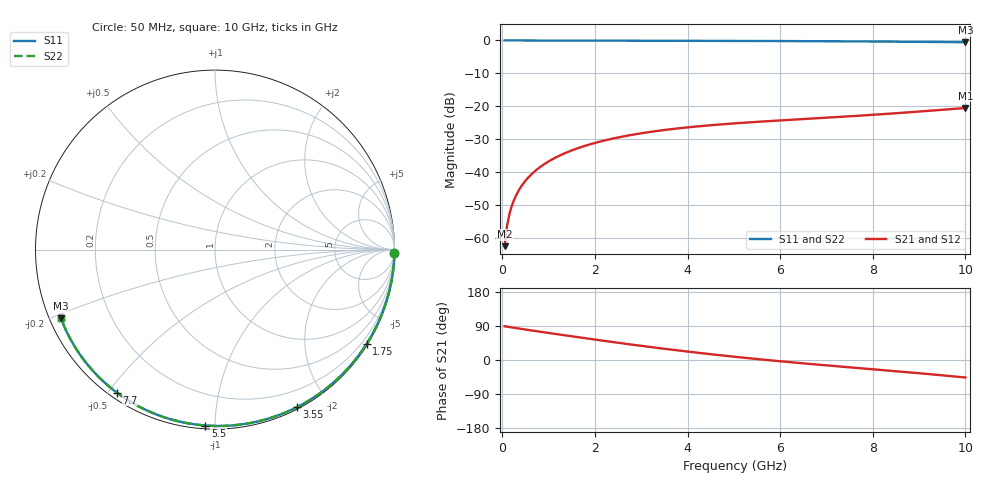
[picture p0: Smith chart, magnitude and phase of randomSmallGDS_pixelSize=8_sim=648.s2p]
! freq	dB(S11)	phase(S11)	dB(S12)	phase(S12)
!  dB(S21)	phase(S21)	dB(S22)	phase(S22)
!S-par simulation data
#  GHz  S  DB  R 50
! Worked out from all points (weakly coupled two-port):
!   200 points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, 50 MHz to 10 GHz, reference 50 ohm
!   highest |S21| = -20.55 dB at 10 GHz (marker M1); lowest = -62.6 dB at 50 MHz (marker M2)
!   lowest |S11| = -0.5 dB at 10 GHz (marker M3), VSWR 32.15, Z = 1.63 - j10.6 ohm
!   |S11| at or under -10 dB: nowhere
!   |S22| runs from -0.5 to 0.0 dB; largest |S21 - S12| = 0
!   S11 on the Smith chart (normalised r, x): 50 MHz: open; 1.75 GHz: 0.03, -3.51; 3.55 GHz: 0.02, -1.64; 5.5 GHz: 0.02, -0.95; 7.7 GHz: 0.02, -0.53; 10 GHz: 0.03, -0.21
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0.05  -0.00 -0.9  -62.57 89.0  -62.57 89.0  -0.00 -0.9
0.1  -0.00 -1.9  -56.55 88.0  -56.55 88.0  -0.00 -1.9
0.15  -0.00 -2.8  -53.04 87.0  -53.04 87.0  -0.00 -2.8
0.2  -0.00 -3.7  -50.55 86.0  -50.55 86.0  -0.00 -3.7
0.25  -0.00 -4.6  -48.62 85.0  -48.62 85.0  -0.00 -4.6
0.35  -0.00 -6.5  -45.73 83.2  -45.73 83.2  -0.00 -6.5
0.5  -0.01 -9.2  -42.67 80.4  -42.67 80.4  -0.01 -9.2
0.7  -0.01 -12.9  -39.80 76.8  -39.80 76.8  -0.01 -12.9
1  -0.02 -18.4  -36.79 71.4  -36.79 71.4  -0.02 -18.4
1.35  -0.03 -24.7  -34.30 65.2  -34.30 65.2  -0.03 -24.7
1.75  -0.04 -31.8  -32.21 58.2  -32.21 58.2  -0.04 -31.8
2.5  -0.06 -44.9  -29.50 45.5  -29.50 45.5  -0.06 -44.9
3.4  -0.09 -60.1  -27.42 31.1  -27.42 31.1  -0.09 -60.2
3.55  -0.09 -62.6  -27.15 28.9  -27.15 28.9  -0.09 -62.6
4.3  -0.11 -74.7  -26.03 18.0  -26.03 18.0  -0.11 -74.7
5.05  -0.14 -86.3  -25.18 8.1  -25.18 8.1  -0.14 -86.4
5.5  -0.16 -93.1  -24.76 2.5  -24.76 2.5  -0.16 -93.1
6.7  -0.23 -110.5  -23.74 -11.0  -23.74 -11.0  -0.23 -110.6
7.7  -0.30 -124.5  -22.89 -21.4  -22.89 -21.4  -0.30 -124.5
8.35  -0.35 -133.4  -22.28 -28.0  -22.28 -28.0  -0.35 -133.4
9.2  -0.44 -145.0  -21.41 -37.1  -21.41 -37.1  -0.44 -145.1
10  -0.54 -156.0  -20.55 -46.1  -20.55 -46.1  -0.54 -156.1
